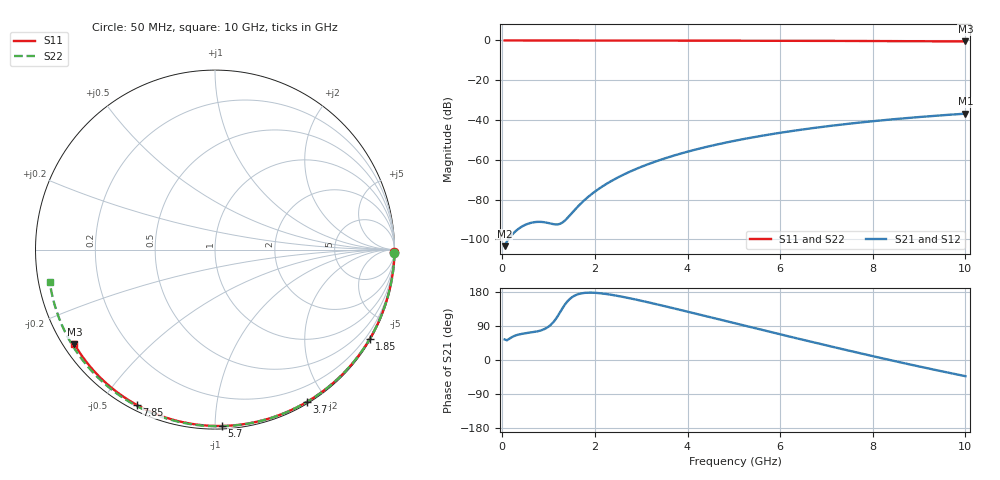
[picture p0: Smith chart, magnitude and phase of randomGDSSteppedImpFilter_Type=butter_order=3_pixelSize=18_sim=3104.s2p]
! freq	dB(S11)	phase(S11)	dB(S12)	phase(S12)
!  dB(S21)	phase(S21)	dB(S22)	phase(S22)
!S-par simulation data
#  GHz  S  DB  R 50
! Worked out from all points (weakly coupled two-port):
!   200 points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, 50 MHz to 10 GHz, reference 50 ohm
!   highest |S21| = -36.82 dB at 10 GHz (marker M1); lowest = -103.5 dB at 50 MHz (marker M2)
!   lowest |S11| = -0.5 dB at 10 GHz (marker M3), VSWR 34.70, Z = 1.58 - j15.2 ohm
!   |S11| at or under -10 dB: nowhere
!   |S22| runs from -0.6 to 0.0 dB; largest |S21 - S12| = 0
!   S11 on the Smith chart (normalised r, x): 50 MHz: open; 1.85 GHz: 0.03, -3.71; 3.7 GHz: 0.02, -1.77; 5.7 GHz: 0.02, -1.04; 7.85 GHz: 0.02, -0.62; 10 GHz: 0.03, -0.30
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0.05  -0.00 -0.8  -103.47 54.2  -103.47 54.2  -0.00 -1.0
0.45  -0.01 -7.5  -93.26 69.6  -93.26 69.6  -0.01 -8.8
0.85  -0.02 -14.0  -91.28 78.8  -91.28 78.8  -0.02 -16.5
1.3  -0.03 -21.3  -91.55 136.6  -91.55 136.6  -0.03 -25.1
1.75  -0.04 -28.6  -80.83 176.6  -80.83 176.6  -0.04 -33.6
1.8  -0.04 -29.4  -79.77 177.3  -79.77 177.3  -0.04 -34.5
1.85  -0.04 -30.2  -78.77 177.6  -78.77 177.6  -0.05 -35.5
2.15  -0.04 -34.9  -73.60 175.6  -73.60 175.6  -0.05 -41.0
2.5  -0.05 -40.4  -68.86 169.0  -68.86 169.0  -0.06 -47.5
2.9  -0.06 -46.7  -64.53 159.1  -64.53 159.1  -0.07 -54.7
3.4  -0.07 -54.3  -60.16 145.2  -60.16 145.2  -0.08 -63.6
3.7  -0.08 -58.8  -57.94 136.5  -57.94 136.5  -0.09 -68.9
4.35  -0.10 -68.5  -53.87 117.1  -53.87 117.1  -0.11 -80.0
5.05  -0.12 -78.6  -50.31 96.1  -50.31 96.1  -0.14 -91.6
5.7  -0.15 -87.7  -47.57 76.7  -47.57 76.7  -0.17 -102.0
6.2  -0.17 -94.6  -45.73 61.9  -45.73 61.9  -0.20 -109.9
6.7  -0.20 -101.4  -44.10 47.3  -44.10 47.3  -0.23 -117.7
7.25  -0.23 -108.8  -42.51 31.4  -42.51 31.4  -0.27 -126.2
7.85  -0.27 -116.8  -40.97 14.3  -40.97 14.3  -0.32 -135.4
8.35  -0.31 -123.4  -39.83 0.5  -39.83 0.5  -0.36 -143.0
9.2  -0.40 -134.9  -38.15 -22.3  -38.15 -22.3  -0.45 -156.2
10  -0.50 -146.1  -36.82 -42.7  -36.82 -42.7  -0.55 -168.9
